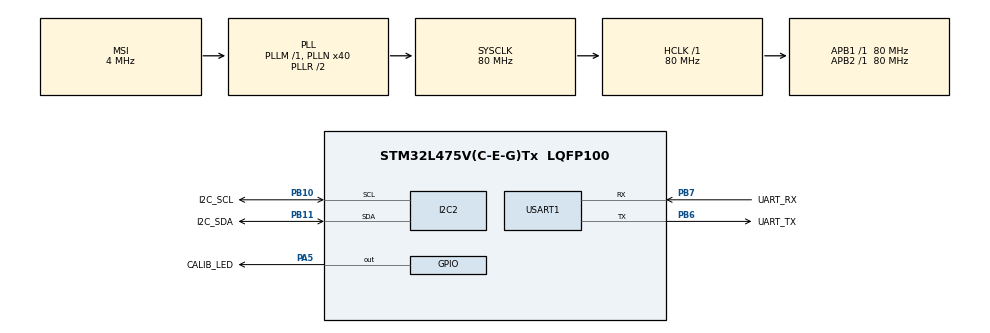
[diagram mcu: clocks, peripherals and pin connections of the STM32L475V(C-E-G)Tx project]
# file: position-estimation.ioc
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I2C2.Timing=0x10D19CE4
Mcu.Family=STM32L4
Mcu.Name=STM32L475V(C-E-G)Tx
Mcu.Package=LQFP100
NVIC.PriorityGroup=NVIC_PRIORITYGROUP_4
PA5.GPIO_Label=CALIB_LED
PA5.Signal=GPIO_Output
PB10.GPIO_Label=I2C_SCL
PB10.Mode=I2C
PB10.Signal=I2C2_SCL
PB11.GPIO_Label=I2C_SDA
PB11.Mode=I2C
PB11.Signal=I2C2_SDA
PB6.GPIO_Label=UART_TX
PB6.Mode=Asynchronous
PB6.Signal=USART1_TX
PB7.GPIO_Label=UART_RX
PB7.Mode=Asynchronous
PB7.Signal=USART1_RX
ProjectManager.HeapSize=0x200
ProjectManager.StackSize=0x400
ProjectManager.TargetToolchain=STM32CubeIDE
RCC.ADCFreq_Value=48000000
RCC.AHBFreq_Value=80000000
RCC.APB1Freq_Value=80000000
RCC.APB1TimFreq_Value=80000000
RCC.APB2Freq_Value=80000000
RCC.APB2TimFreq_Value=80000000
RCC.CortexFreq_Value=80000000
RCC.HCLKFreq_Value=80000000
RCC.HSE_VALUE=8000000
RCC.HSI_VALUE=16000000
RCC.LSE_VALUE=32768
RCC.MSI_VALUE=4000000
RCC.PLLN=40
RCC.PLLSAI1N=24
RCC.SYSCLKFreq_VALUE=80000000
RCC.SYSCLKSource=RCC_SYSCLKSOURCE_PLLCLK
RCC.USBFreq_Value=48000000
RCC.VCOOutputFreq_Value=160000000
USART1.VirtualMode-Asynchronous=VM_ASYNC
board=B-L475E-IOT01A1

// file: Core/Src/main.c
/* USER CODE BEGIN Header */
/**
  ******************************************************************************
  * @file           : main.c
  * @brief          : Main program body
  ******************************************************************************
  * @attention
  *
  * Copyright (c) 2026 STMicroelectronics.
  * All rights reserved.
  *
  * This software is licensed under terms that can be found in the LICENSE file
  * in the root directory of this software component.
  * If no LICENSE file comes with this software, it is provided AS-IS.
  *
  ******************************************************************************
  */
/* USER CODE END Header */
#include "main.h"

/* USER CODE BEGIN Includes */
#include <stdio.h>
#include <string.h>

#include "lsm6dsl.h"
/* USER CODE END Includes */

/* USER CODE BEGIN PTD */
#ifdef __GNUC__
	#define PUTCHAR_PROTOTYPE int __io_putchar(int ch)
	#define GETCHAR_PROTOTYPE int __io_getchar(void)
#else
	#define PUTCHAR_PROTOTYPE int fputc(int ch, FILE *f)
	#define GETCHAR_PROTOTYPE int getc(FILE *f)
#endif /* __GNUC__ */

/* USER CODE END PTD */

I2C_HandleTypeDef hi2c2;

UART_HandleTypeDef huart1;

void SystemClock_Config(void);
static void MX_GPIO_Init(void);
static void MX_I2C2_Init(void);
static void MX_USART1_UART_Init(void);

int main(void)
{

  /* MCU Configuration--------------------------------------------------------*/

  /* Reset of all peripherals, Initializes the Flash interface and the Systick. */
  HAL_Init();

  /* Configure the system clock */
  SystemClock_Config();

  /* Initialize all configured peripherals */
  MX_GPIO_Init();
  MX_I2C2_Init();
  MX_USART1_UART_Init();
  /* USER CODE BEGIN 2 */

  // initialize imu
  LSM6DSL_init(&hi2c2);

  // calibrate imu
  vec3_t gyro_offs = { 0, 0, 0 };
  vec3_t acc_offs = { 0, 0, 0 };
  HAL_GPIO_WritePin(CALIB_LED_GPIO_Port, CALIB_LED_Pin, GPIO_PIN_SET);
  LSM6DSL_calib(&hi2c2, &gyro_offs, &acc_offs);
  HAL_GPIO_WritePin(CALIB_LED_GPIO_Port, CALIB_LED_Pin, GPIO_PIN_RESET);
  /* USER CODE END 2 */

  /* Infinite loop */
  /* USER CODE BEGIN WHILE */
  while (1)
  {
	vec3_t gyro_data;
	vec3_t acc_data;
	LSM6DSL_read_fifo(&hi2c2, &gyro_data, &acc_data, &gyro_offs, &acc_offs);
	write_Gyro_Acc(&gyro_data, &acc_data);
	/* USER CODE END WHILE */

  }
}

void SystemClock_Config(void)
{
  RCC_OscInitTypeDef RCC_OscInitStruct = {0};
  RCC_ClkInitTypeDef RCC_ClkInitStruct = {0};

  /** Configure the main internal regulator output voltage
  */
  if (HAL_PWREx_ControlVoltageScaling(PWR_REGULATOR_VOLTAGE_SCALE1) != HAL_OK)
  {
    Error_Handler();
  }

  /** Initializes the RCC Oscillators according to the specified parameters
  * in the RCC_OscInitTypeDef structure.
  */
  RCC_OscInitStruct.OscillatorType = RCC_OSCILLATORTYPE_MSI;
  RCC_OscInitStruct.MSIState = RCC_MSI_ON;
  RCC_OscInitStruct.MSICalibrationValue = 0;
  RCC_OscInitStruct.MSIClockRange = RCC_MSIRANGE_6;
  RCC_OscInitStruct.PLL.PLLState = RCC_PLL_ON;
  RCC_OscInitStruct.PLL.PLLSource = RCC_PLLSOURCE_MSI;
  RCC_OscInitStruct.PLL.PLLM = 1;
  RCC_OscInitStruct.PLL.PLLN = 40;
  RCC_OscInitStruct.PLL.PLLP = RCC_PLLP_DIV7;
  RCC_OscInitStruct.PLL.PLLQ = RCC_PLLQ_DIV2;
  RCC_OscInitStruct.PLL.PLLR = RCC_PLLR_DIV2;
  if (HAL_RCC_OscConfig(&RCC_OscInitStruct) != HAL_OK)
  {
    Error_Handler();
  }

  /** Initializes the CPU, AHB and APB buses clocks
  */
  RCC_ClkInitStruct.ClockType = RCC_CLOCKTYPE_HCLK|RCC_CLOCKTYPE_SYSCLK
                              |RCC_CLOCKTYPE_PCLK1|RCC_CLOCKTYPE_PCLK2;
  RCC_ClkInitStruct.SYSCLKSource = RCC_SYSCLKSOURCE_PLLCLK;
  RCC_ClkInitStruct.AHBCLKDivider = RCC_SYSCLK_DIV1;
  RCC_ClkInitStruct.APB1CLKDivider = RCC_HCLK_DIV1;
  RCC_ClkInitStruct.APB2CLKDivider = RCC_HCLK_DIV1;

  if (HAL_RCC_ClockConfig(&RCC_ClkInitStruct, FLASH_LATENCY_4) != HAL_OK)
  {
    Error_Handler();
  }
}

static void MX_I2C2_Init(void)
{

  hi2c2.Instance = I2C2;
  hi2c2.Init.Timing = 0x10D19CE4;
  hi2c2.Init.OwnAddress1 = 0;
  hi2c2.Init.AddressingMode = I2C_ADDRESSINGMODE_7BIT;
  hi2c2.Init.DualAddressMode = I2C_DUALADDRESS_DISABLE;
  hi2c2.Init.OwnAddress2 = 0;
  hi2c2.Init.OwnAddress2Masks = I2C_OA2_NOMASK;
  hi2c2.Init.GeneralCallMode = I2C_GENERALCALL_DISABLE;
  hi2c2.Init.NoStretchMode = I2C_NOSTRETCH_DISABLE;
  if (HAL_I2C_Init(&hi2c2) != HAL_OK)
  {
    Error_Handler();
  }

  /** Configure Analogue filter
  */
  if (HAL_I2CEx_ConfigAnalogFilter(&hi2c2, I2C_ANALOGFILTER_ENABLE) != HAL_OK)
  {
    Error_Handler();
  }

  /** Configure Digital filter
  */
  if (HAL_I2CEx_ConfigDigitalFilter(&hi2c2, 0) != HAL_OK)
  {
    Error_Handler();
  }

}

static void MX_USART1_UART_Init(void)
{

  huart1.Instance = USART1;
  huart1.Init.BaudRate = 115200;
  huart1.Init.WordLength = UART_WORDLENGTH_8B;
  huart1.Init.StopBits = UART_STOPBITS_1;
  huart1.Init.Parity = UART_PARITY_NONE;
  huart1.Init.Mode = UART_MODE_TX_RX;
  huart1.Init.HwFlowCtl = UART_HWCONTROL_NONE;
  huart1.Init.OverSampling = UART_OVERSAMPLING_16;
  huart1.Init.OneBitSampling = UART_ONE_BIT_SAMPLE_DISABLE;
  huart1.AdvancedInit.AdvFeatureInit = UART_ADVFEATURE_NO_INIT;
  if (HAL_UART_Init(&huart1) != HAL_OK)
  {
    Error_Handler();
  }

}

static void MX_GPIO_Init(void)
{
  GPIO_InitTypeDef GPIO_InitStruct = {0};

  /* GPIO Ports Clock Enable */
  __HAL_RCC_GPIOA_CLK_ENABLE();
  __HAL_RCC_GPIOB_CLK_ENABLE();

  /*Configure GPIO pin Output Level */
  HAL_GPIO_WritePin(CALIB_LED_GPIO_Port, CALIB_LED_Pin, GPIO_PIN_RESET);

  /*Configure GPIO pin : CALIB_LED_Pin */
  GPIO_InitStruct.Pin = CALIB_LED_Pin;
  GPIO_InitStruct.Mode = GPIO_MODE_OUTPUT_PP;
  GPIO_InitStruct.Pull = GPIO_NOPULL;
  GPIO_InitStruct.Speed = GPIO_SPEED_FREQ_LOW;
  HAL_GPIO_Init(CALIB_LED_GPIO_Port, &GPIO_InitStruct);

}

/* USER CODE BEGIN 4 */

void write_Gyro_Acc(vec3_t* gyro_data, vec3_t* acc_data) {

	uint8_t buffer[26];
	// write header for gyroscope data
	buffer[0] = 'g';

	// write gyroscope data
	memcpy(&buffer[1], &gyro_data->x, sizeof(float));
	memcpy(&buffer[5], &gyro_data->y, sizeof(float));
	memcpy(&buffer[9], &gyro_data->z, sizeof(float));

	// write header for accelerometer data
	buffer[13] = 'a';

	// write accelerometer data
	memcpy(&buffer[14], &acc_data->x, sizeof(float));
	memcpy(&buffer[18], &acc_data->y, sizeof(float));
	memcpy(&buffer[22], &acc_data->z, sizeof(float));

	// transmit
	HAL_UART_Transmit(&huart1, buffer, 26, HAL_MAX_DELAY);
}

PUTCHAR_PROTOTYPE {
	HAL_UART_Transmit(&huart1, (uint8_t*) &ch, 1, HAL_MAX_DELAY);

	return ch;
}
GETCHAR_PROTOTYPE {
	int ch = 0;
	HAL_UART_Receive(&huart1, (uint8_t*) &ch, 1, HAL_MAX_DELAY);

	HAL_UART_Transmit(&huart1, (uint8_t*) &ch, 1, HAL_MAX_DELAY);

	return ch;
}

/* USER CODE END 4 */

void Error_Handler(void)
{
  __disable_irq();
  while (1)
  {
  }
}
